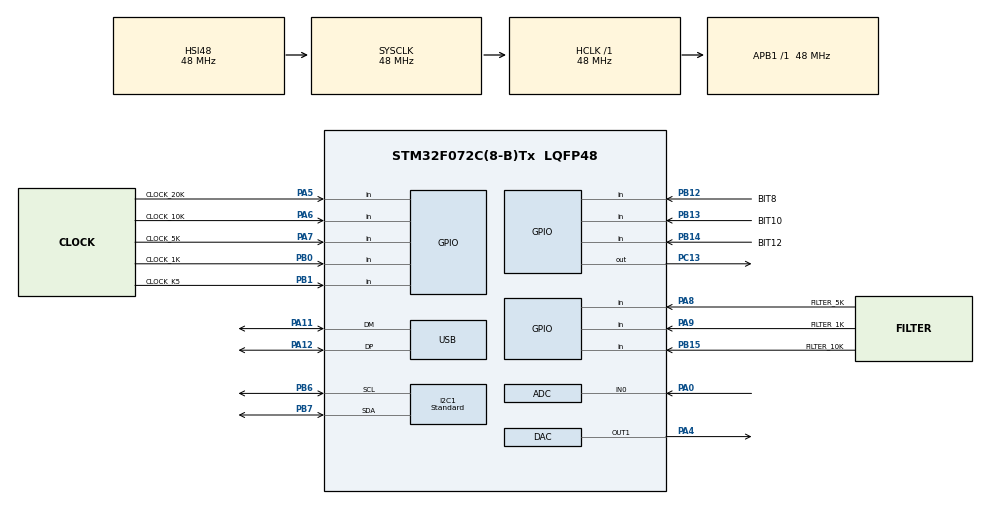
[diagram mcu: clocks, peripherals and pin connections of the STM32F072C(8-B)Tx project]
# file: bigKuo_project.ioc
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ADC.ClockPrescaler=ADC_CLOCK_ASYNC_DIV1
ADC.ContinuousConvMode=DISABLE
ADC.DMAContinuousRequests=ENABLE
ADC.DataAlign=ADC_DATAALIGN_RIGHT
ADC.DiscontinuousConvMode=DISABLE
ADC.EOCSelection=ADC_EOC_SINGLE_CONV
ADC.EnableAnalogWatchDog=false
ADC.ExternalTrigConv=ADC_EXTERNALTRIGCONV_T3_TRGO
ADC.ExternalTrigConvEdge=ADC_EXTERNALTRIGCONVEDGE_RISING
ADC.LowPowerAutoPowerOff=DISABLE
ADC.LowPowerAutoWait=DISABLE
ADC.Overrun=ADC_OVR_DATA_OVERWRITTEN
ADC.Resolution=ADC_RESOLUTION_12B
ADC.SamplingTime=ADC_SAMPLETIME_1CYCLE_5
ADC.ScanConvMode=ADC_SCAN_DIRECTION_FORWARD
DAC.DAC_Trigger=DAC_TRIGGER_T15_TRGO
Dma.ADC.0.Direction=DMA_PERIPH_TO_MEMORY
Dma.ADC.0.Instance=DMA1_Channel1
Dma.ADC.0.MemDataAlignment=DMA_MDATAALIGN_HALFWORD
Dma.ADC.0.MemInc=DMA_MINC_ENABLE
Dma.ADC.0.Mode=DMA_CIRCULAR
Dma.ADC.0.PeriphDataAlignment=DMA_PDATAALIGN_HALFWORD
Dma.ADC.0.PeriphInc=DMA_PINC_DISABLE
Dma.ADC.0.Priority=DMA_PRIORITY_LOW
Dma.DAC_CH1.1.Direction=DMA_MEMORY_TO_PERIPH
Dma.DAC_CH1.1.Instance=DMA1_Channel3
Dma.DAC_CH1.1.MemDataAlignment=DMA_MDATAALIGN_HALFWORD
Dma.DAC_CH1.1.MemInc=DMA_MINC_ENABLE
Dma.DAC_CH1.1.Mode=DMA_CIRCULAR
Dma.DAC_CH1.1.PeriphDataAlignment=DMA_PDATAALIGN_HALFWORD
Dma.DAC_CH1.1.PeriphInc=DMA_PINC_DISABLE
Dma.DAC_CH1.1.Priority=DMA_PRIORITY_LOW
Dma.Request0=ADC
Dma.Request1=DAC_CH1
I2C1.I2C_Speed_Mode=I2C_Standard
Mcu.Family=STM32F0
Mcu.Name=STM32F072C(8-B)Tx
Mcu.Package=LQFP48
NVIC.ADC1_COMP_IRQn=true\:0\:0\:true\:true\:true\:5
NVIC.DMA1_Channel1_IRQn=true\:0\:0\:true\:true\:true\:3
NVIC.DMA1_Channel2_3_IRQn=true\:0\:0\:true\:true\:true\:4
NVIC.I2C1_IRQn=true\:0\:0\:false\:true\:true\:1
NVIC.TIM2_IRQn=true\:0\:0\:false\:true\:true\:2
NVIC.TIM6_DAC_IRQn=true\:0\:0\:false\:true\:true\:6
NVIC.USB_IRQn=true\:0\:0\:false\:true\:true\:7
PA0.Mode=IN0
PA0.Signal=ADC_IN0
PA11.Mode=Device
PA11.Signal=USB_DM
PA12.Mode=Device
PA12.Signal=USB_DP
PA13.Mode=Serial_Wire
PA13.Signal=SYS_SWDIO
PA14.Mode=Serial_Wire
PA14.Signal=SYS_SWCLK
PA4.Signal=COMP_DAC1_group
PA5.GPIO_Label=CLOCK_20K
PA5.GPIO_PuPd=GPIO_PULLDOWN
PA5.Signal=GPIO_Input
PA6.GPIO_Label=CLOCK_10K
PA6.GPIO_PuPd=GPIO_PULLDOWN
PA6.Signal=GPIO_Input
PA7.GPIO_Label=CLOCK_5K
PA7.GPIO_PuPd=GPIO_PULLDOWN
PA7.Signal=GPIO_Input
PA8.GPIO_Label=FILTER_5K
PA8.GPIO_PuPd=GPIO_PULLDOWN
PA8.Signal=GPIO_Input
PA9.GPIO_Label=FILTER_1K
PA9.GPIO_PuPd=GPIO_PULLDOWN
PA9.Signal=GPIO_Input
PB0.GPIO_Label=CLOCK_1K
PB0.GPIO_PuPd=GPIO_PULLDOWN
PB0.Signal=GPIO_Input
PB1.GPIO_Label=CLOCK_K5
PB1.GPIO_PuPd=GPIO_PULLDOWN
PB1.Signal=GPIO_Input
PB12.GPIO_Label=BIT8
PB12.GPIO_PuPd=GPIO_PULLDOWN
PB12.Signal=GPIO_Input
PB13.GPIO_Label=BIT10
PB13.GPIO_PuPd=GPIO_PULLDOWN
PB13.Signal=GPIO_Input
PB14.GPIO_Label=BIT12
PB14.GPIO_PuPd=GPIO_PULLDOWN
PB14.Signal=GPIO_Input
PB15.GPIO_Label=FILTER_10K
PB15.GPIO_PuPd=GPIO_PULLDOWN
PB15.Signal=GPIO_Input
PB6.Mode=I2C
PB6.Signal=I2C1_SCL
PB7.Mode=I2C
PB7.Signal=I2C1_SDA
PC13.Signal=GPIO_Output
PF0-OSC_IN.Mode=HSE-External-Oscillator
PF0-OSC_IN.Signal=RCC_OSC_IN
PF1-OSC_OUT.Mode=HSE-External-Oscillator
PF1-OSC_OUT.Signal=RCC_OSC_OUT
ProjectManager.HeapSize=0x200
ProjectManager.StackSize=0x400
ProjectManager.TargetToolchain=MDK-ARM V5
RCC.AHBCLKDivider=RCC_SYSCLK_DIV1
RCC.AHBFreq_Value=48000000
RCC.APB1CLKDivider=RCC_HCLK_DIV1
RCC.APB1Freq_Value=48000000
RCC.APB1TimFreq_Value=48000000
RCC.HCLKFreq_Value=48000000
RCC.PLLSourceVirtual=RCC_PLLSOURCE_HSI
RCC.SYSCLKFreq_VALUE=48000000
RCC.SYSCLKSource=RCC_SYSCLKSOURCE_HSI48
SH.COMP_DAC1_group.0=DAC_OUT1,DAC_OUT1
TIM15.Period=2400
TIM15.Prescaler=0
TIM15.TIM_MasterOutputTrigger=TIM_TRGO_UPDATE
TIM17.Period=50-1
TIM17.Prescaler=48-1
TIM2.Period=500-1
TIM2.Prescaler=48000-1
TIM3.Period=2400
TIM3.Prescaler=0
TIM3.TIM_MasterOutputTrigger=TIM_TRGO_UPDATE
TIM3.TIM_MasterSlaveMode=TIM_MASTERSLAVEMODE_DISABLE
USB_DEVICE.CLASS_NAME_FS=CDC
USB_DEVICE.VirtualMode=Cdc
USB_DEVICE.VirtualModeFS=Cdc_FS
VP_TIM15_VS_ClockSourceINT.Mode=Internal
VP_TIM17_VS_ClockSourceINT.Mode=Enable_Timer
VP_TIM2_VS_ClockSourceINT.Mode=Internal
VP_TIM3_VS_ClockSourceINT.Mode=Internal
VP_USB_DEVICE_VS_USB_DEVICE_CDC_FS.Mode=CDC_FS
board=bigKuo_project

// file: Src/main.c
/**
  ******************************************************************************
  * File Name          : main.c
  * Description        : Main program body
  ******************************************************************************
  * This notice applies to any and all portions of this file
  * that are not between comment pairs USER CODE BEGIN and
  * USER CODE END. Other portions of this file, whether
  * inserted by the user or by software development tools
  * are owned by their respective copyright owners.
  *
  * Copyright (c) 2017 STMicroelectronics International N.V.
  * All rights reserved.
  *
  * Redistribution and use in source and binary forms, with or without
  * modification, are permitted, provided that the following conditions are met:
  *
  * 1. Redistribution of source code must retain the above copyright notice,
  *    this list of conditions and the following disclaimer.
  * 2. Redistributions in binary form must reproduce the above copyright notice,
  *    this list of conditions and the following disclaimer in the documentation
  *    and/or other materials provided with the distribution.
  * 3. Neither the name of STMicroelectronics nor the names of other
  *    contributors to this software may be used to endorse or promote products
  *    derived from this software without specific written permission.
  * 4. This software, including modifications and/or derivative works of this
  *    software, must execute solely and exclusively on microcontroller or
  *    microprocessor devices manufactured by or for STMicroelectronics.
  * 5. Redistribution and use of this software other than as permitted under
  *    this license is void and will automatically terminate your rights under
  *    this license.
  *
  * THIS SOFTWARE IS PROVIDED BY STMICROELECTRONICS AND CONTRIBUTORS "AS IS"
  * AND ANY EXPRESS, IMPLIED OR STATUTORY WARRANTIES, INCLUDING, BUT NOT
  * LIMITED TO, THE IMPLIED WARRANTIES OF MERCHANTABILITY, FITNESS FOR A
  * PARTICULAR PURPOSE AND NON-INFRINGEMENT OF THIRD PARTY INTELLECTUAL PROPERTY
  * RIGHTS ARE DISCLAIMED TO THE FULLEST EXTENT PERMITTED BY LAW. IN NO EVENT
  * SHALL STMICROELECTRONICS OR CONTRIBUTORS BE LIABLE FOR ANY DIRECT, INDIRECT,
  * INCIDENTAL, SPECIAL, EXEMPLARY, OR CONSEQUENTIAL DAMAGES (INCLUDING, BUT NOT
  * LIMITED TO, PROCUREMENT OF SUBSTITUTE GOODS OR SERVICES; LOSS OF USE, DATA,
  * OR PROFITS; OR BUSINESS INTERRUPTION) HOWEVER CAUSED AND ON ANY THEORY OF
  * LIABILITY, WHETHER IN CONTRACT, STRICT LIABILITY, OR TORT (INCLUDING
  * NEGLIGENCE OR OTHERWISE) ARISING IN ANY WAY OUT OF THE USE OF THIS SOFTWARE,
  * EVEN IF ADVISED OF THE POSSIBILITY OF SUCH DAMAGE.
  *
  ******************************************************************************
  */
#include "main.h"
#include "stm32f0xx_hal.h"
#include "adc.h"
#include "dac.h"
#include "dma.h"
#include "i2c.h"
#include "tim.h"
#include "usb_device.h"
#include "gpio.h"

/* USER CODE BEGIN Includes */
#include "usbd_cdc_if.h"
#include "hd44780.h"
#include "pcf8574.h"
#include "key.h"
#include "delay.h"
#include "myiic.h"
/* USER CODE END Includes */

/* USER CODE BEGIN PV */
/* Private variables ---------------------------------------------------------*/
char kMsg[200];
char tempMsg1[100];
char tempMsg2[100];
char tempMsgStandby1[50];
char tempMsgStandby2[50];
/* USER CODE END PV */

void SystemClock_Config(void);
static void MX_NVIC_Init(void);

/* USER CODE BEGIN PFP */
/* Private function prototypes -----------------------------------------------*/

uint16_t ADCReadings_Bitshift = 0; //ADC Readings
uint16_t ADCReadings_Filter = 0; //ADC Readings

uint8_t  Key_mode = 0;
uint8_t  ADCReadings_Filter_ShowBit[8] = {0};
uint16_t ADCReadings_tmp = 0;
uint8_t  LCD_Reflash_flag = 0;
LCD_PCF8574_HandleTypeDef lcd;

// define timer clock setting
#define CLOCK_FREQ          48000000                            // 48M
#define TIM_PRESCALER       48                                  // TIM_CLOCK = 48M/48 = 1M = 1000k
#define TIM_CLOCK           (CLOCK_FREQ/TIM_PRESCALER)          // 48M/48 = 1M = 1000k
#define TIM_20K_PERIOD      (TIM_CLOCK/20000)                   // 1000k/20k  = 50
#define TIM_10K_PERIOD      (TIM_CLOCK/10000)                   // 1000k/10k  = 100
#define TIM_5K_PERIOD       (TIM_CLOCK/5000)                    // 1000k/5k   = 200
#define TIM_1K_PERIOD       (TIM_CLOCK/1000)                    // 1000k/1k   = 1000
#define TIM_K5_PERIOD       (TIM_CLOCK/500)                     // 1000k/0.5k = 2000
uint32_t TIM_prescale_setting = TIM_20K_PERIOD;

#define FW_VERSION           "v1.0"
/* USER CODE END PFP */

/* USER CODE BEGIN 0 */

/* Variable containing ADC conversions results */
/* ADC parameters */
#define ADCCONVERTEDVALUES_BUFFER_SIZE ((uint32_t)  1)    /* Size of array containing ADC converted values */
__IO uint16_t aADCxConvertedValues[ADCCONVERTEDVALUES_BUFFER_SIZE];
__IO uint16_t uDAC_TEST[1] = {0};

/* USER CODE END 0 */

int main(void)
{

  /* MCU Configuration----------------------------------------------------------*/

  /* Reset of all peripherals, Initializes the Flash interface and the Systick. */
  HAL_Init();

  /* Configure the system clock */
  SystemClock_Config();

  /* USER CODE BEGIN SysInit */
  // TIM2  --> Callback
  // TIM3  --> ADC
  // TIM15 --> DAC

  /* USER CODE END SysInit */

  /* Initialize all configured peripherals */
  MX_GPIO_Init();
  MX_DMA_Init();
  MX_USB_DEVICE_Init();
  MX_ADC_Init();
  MX_DAC_Init();
  MX_I2C1_Init();
  MX_TIM2_Init();
  MX_TIM17_Init();
  MX_TIM15_Init();
  MX_TIM3_Init();

  /* Initialize interrupts */
  MX_NVIC_Init();

  /* USER CODE BEGIN 2 */
  lcd.pcf8574.PCF_I2C_ADDRESS = 7;
  lcd.pcf8574.PCF_I2C_TIMEOUT = 1000;
  lcd.pcf8574.i2c.Instance = I2C1;
  lcd.pcf8574.i2c.Init.Timing = 0x0000020B;
  lcd.NUMBER_OF_LINES = NUMBER_OF_LINES_2;
  lcd.type = TYPE0;
  if (LCD_Init(&lcd) != LCD_OK)
  {
    // error occured
    while (1);
  }
  // while (PCF8574_Init()) //�?测�?�到 PCF8574
  // {
  //   HAL_GPIO_TogglePin(GPIOC, GPIO_PIN_13);
  //   HAL_Delay(200);
  // }

  // default msg for LCD
//  sprintf(tempMsgStandby1, "ADC/DAC");
  sprintf(tempMsgStandby2, "Teach Module");

  // Start ADC DMA
  if (HAL_ADC_Start_DMA(&hadc, (uint32_t *)aADCxConvertedValues, ADCCONVERTEDVALUES_BUFFER_SIZE) != HAL_OK)
  {
    /* Start Error */
    Error_Handler();
  }
  if (HAL_TIM_Base_Start(&htim3) != HAL_OK)
  {
    /* Counter Enable Error */
    Error_Handler();
  }

  // Start DAC DMA
  //if (HAL_DAC_Start_DMA(&hdac, DAC_CHANNEL_1, (uint32_t *)aADCxConvertedValues, ADCCONVERTEDVALUES_BUFFER_SIZE, DAC_ALIGN_12B_R) != HAL_OK)
  if (HAL_DAC_Start_DMA(&hdac, DAC_CHANNEL_1, (uint32_t *)uDAC_TEST, 1, DAC_ALIGN_12B_R) != HAL_OK)
  {
    /* Start DMA Error */
    Error_Handler();
  }

  if (HAL_TIM_Base_Start(&htim15) != HAL_OK)
  {
    /* Counter Enable Error */
    Error_Handler();
  }

  if (HAL_TIM_Base_Start_IT(&htim2) != HAL_OK)
  {
    /* Starting Error */
    Error_Handler();
  }

  uint16_t i = 0;
  /* USER CODE END 2 */

  /* Infinite loop */
  while (1)
  {

    /* USER CODE BEGIN 3 */

    // USB display msg
    sprintf(kMsg, "A:%d, %d, %d, %d M: %d %d %d %d\n", uDAC_TEST[0], aADCxConvertedValues[0], ADCReadings_Bitshift, ADCReadings_Filter,
            Key_mode, ADC_Setting.ADC_clock, ADC_Setting.ADC_bit, ADC_Setting.ADC_filter);
    if (hUsbDeviceFS.dev_state == USBD_STATE_CONFIGURED) {CDC_Transmit_FS((uint8_t *)kMsg, strlen(kMsg));}

    // prase adc value from bit by bit
    ADCReadings_tmp = ADCReadings_Filter;
    for (i = 0; i < 8 ; i++)
    {
      ADCReadings_Filter_ShowBit[i] = (uint8_t) (ADCReadings_tmp >> i) & 1 ;
    }

    // LCD display msg
		sprintf(tempMsgStandby1, "ADC/DAC %d %d %d", ADC_Setting.ADC_clock, ADC_Setting.ADC_bit, ADC_Setting.ADC_filter);

    sprintf(tempMsg1, "DAC: %d", uDAC_TEST[0]);
    sprintf(tempMsg2, "ADC: %d%d%d%d%d%d%d%d", ADCReadings_Filter_ShowBit[7], ADCReadings_Filter_ShowBit[6], ADCReadings_Filter_ShowBit[5],
            ADCReadings_Filter_ShowBit[4], ADCReadings_Filter_ShowBit[3], ADCReadings_Filter_ShowBit[2], ADCReadings_Filter_ShowBit[1],
            ADCReadings_Filter_ShowBit[0]);

    // HAL_GPIO_TogglePin(GPIOC, GPIO_PIN_13);
    HAL_Delay(500);

    // scan gpio and change adc timer clock / bit / filter setting
    Key_mode = KEY_Scan_Clock(&ADC_Setting, 1);
    KEY_Scan_Bit(&ADC_Setting, 1);
    KEY_Scan_Filter(&ADC_Setting, 1);

    // if change adc timer clock, stop and restart timer setting
    if (Key_mode == KEY_CLOCK_PRES)
    {

      if (HAL_TIM_Base_Stop(&htim3) != HAL_OK)
      {
        Error_Handler();
      }

      if (HAL_TIM_Base_DeInit(&htim3) != HAL_OK)
      {
        Error_Handler();
      }
      // check ADC sample clock
      switch (ADC_Setting.ADC_clock)
      {
      case (CLOCK_20K):
        TIM_prescale_setting = TIM_20K_PERIOD;
        break;
      case (CLOCK_10K):
        TIM_prescale_setting = TIM_10K_PERIOD;
        break;
      case (CLOCK_5K):
        TIM_prescale_setting = TIM_5K_PERIOD;
        break;
      case (CLOCK_1K):
        TIM_prescale_setting = TIM_1K_PERIOD;
        break;
      case (CLOCK_K5):
        TIM_prescale_setting = TIM_K5_PERIOD;
        break;
      default:
        break;
      }

      MX_TIM3_ReInit((uint16_t)TIM_PRESCALER , (uint32_t)TIM_prescale_setting);

      if (HAL_TIM_Base_Start(&htim3) != HAL_OK)
      {
        Error_Handler();
      }

    }

  } // while loop end

  /* USER CODE END 3 */

}

/** System Clock Configuration
*/
void SystemClock_Config(void)
{

  RCC_OscInitTypeDef RCC_OscInitStruct;
  RCC_ClkInitTypeDef RCC_ClkInitStruct;
  RCC_PeriphCLKInitTypeDef PeriphClkInit;

  /**Initializes the CPU, AHB and APB busses clocks
  */
  RCC_OscInitStruct.OscillatorType = RCC_OSCILLATORTYPE_HSI | RCC_OSCILLATORTYPE_HSI14
                                     | RCC_OSCILLATORTYPE_HSI48;
  RCC_OscInitStruct.HSIState = RCC_HSI_ON;
  RCC_OscInitStruct.HSI48State = RCC_HSI48_ON;
  RCC_OscInitStruct.HSI14State = RCC_HSI14_ON;
  RCC_OscInitStruct.HSICalibrationValue = 16;
  RCC_OscInitStruct.HSI14CalibrationValue = 16;
  RCC_OscInitStruct.PLL.PLLState = RCC_PLL_NONE;
  if (HAL_RCC_OscConfig(&RCC_OscInitStruct) != HAL_OK)
  {
    _Error_Handler(__FILE__, __LINE__);
  }

  /**Initializes the CPU, AHB and APB busses clocks
  */
  RCC_ClkInitStruct.ClockType = RCC_CLOCKTYPE_HCLK | RCC_CLOCKTYPE_SYSCLK
                                | RCC_CLOCKTYPE_PCLK1;
  RCC_ClkInitStruct.SYSCLKSource = RCC_SYSCLKSOURCE_HSI48;
  RCC_ClkInitStruct.AHBCLKDivider = RCC_SYSCLK_DIV1;
  RCC_ClkInitStruct.APB1CLKDivider = RCC_HCLK_DIV1;

  if (HAL_RCC_ClockConfig(&RCC_ClkInitStruct, FLASH_LATENCY_1) != HAL_OK)
  {
    _Error_Handler(__FILE__, __LINE__);
  }

  PeriphClkInit.PeriphClockSelection = RCC_PERIPHCLK_USB | RCC_PERIPHCLK_I2C1;
  PeriphClkInit.I2c1ClockSelection = RCC_I2C1CLKSOURCE_HSI;
  PeriphClkInit.UsbClockSelection = RCC_USBCLKSOURCE_HSI48;

  if (HAL_RCCEx_PeriphCLKConfig(&PeriphClkInit) != HAL_OK)
  {
    _Error_Handler(__FILE__, __LINE__);
  }

  /**Configure the Systick interrupt time
  */
  HAL_SYSTICK_Config(HAL_RCC_GetHCLKFreq() / 1000);

  /**Configure the Systick
  */
  HAL_SYSTICK_CLKSourceConfig(SYSTICK_CLKSOURCE_HCLK);

  /* SysTick_IRQn interrupt configuration */
  HAL_NVIC_SetPriority(SysTick_IRQn, 0, 0);
}

/** NVIC Configuration
*/
static void MX_NVIC_Init(void)
{
  /* I2C1_IRQn interrupt configuration */
  HAL_NVIC_SetPriority(I2C1_IRQn, 0, 0);
  HAL_NVIC_EnableIRQ(I2C1_IRQn);
  /* TIM2_IRQn interrupt configuration */
  HAL_NVIC_SetPriority(TIM2_IRQn, 0, 0);
  HAL_NVIC_EnableIRQ(TIM2_IRQn);
  /* DMA1_Channel1_IRQn interrupt configuration */
  HAL_NVIC_SetPriority(DMA1_Channel1_IRQn, 0, 0);
  HAL_NVIC_EnableIRQ(DMA1_Channel1_IRQn);
  /* DMA1_Channel2_3_IRQn interrupt configuration */
  HAL_NVIC_SetPriority(DMA1_Channel2_3_IRQn, 0, 0);
  HAL_NVIC_EnableIRQ(DMA1_Channel2_3_IRQn);
  /* ADC1_COMP_IRQn interrupt configuration */
  HAL_NVIC_SetPriority(ADC1_COMP_IRQn, 0, 0);
  HAL_NVIC_EnableIRQ(ADC1_COMP_IRQn);
  /* TIM6_DAC_IRQn interrupt configuration */
  HAL_NVIC_SetPriority(TIM6_DAC_IRQn, 0, 0);
  HAL_NVIC_EnableIRQ(TIM6_DAC_IRQn);
  /* USB_IRQn interrupt configuration */
  HAL_NVIC_SetPriority(USB_IRQn, 0, 0);
  HAL_NVIC_EnableIRQ(USB_IRQn);
}

/* USER CODE BEGIN 4 */
void HAL_ADC_ConvCpltCallback(ADC_HandleTypeDef * AdcHandle)
{
  // If enable DMA, just leave this commented.
  /* Get the converted value of regular channel */
  //uhADCxConvertedValue = HAL_ADC_GetValue(AdcHandle);

  ADCReadings_Bitshift = ADC_Bitshift(&ADC_Setting, (uint16_t)aADCxConvertedValues[0]);
  ADCReadings_Filter   = ADC_Filter_Output(&ADC_Setting , ADCReadings_Bitshift);
  uDAC_TEST[0] = DAC_Bitshift(&ADC_Setting, ADCReadings_Filter);
}

void HAL_TIM_PeriodElapsedCallback(TIM_HandleTypeDef *htim)
{
  HAL_GPIO_TogglePin(GPIOC, GPIO_PIN_13);

  // only show LCD msg on clock = 20k and filter is none.
  if (ADC_Setting.ADC_clock == CLOCK_20K && ADC_Setting.ADC_filter == FILTER_None)
  {
    LCD_ClearDisplay(&lcd);
    LCD_SetLocation(&lcd, 0, 0);
    LCD_WriteString(&lcd, tempMsg1);
    LCD_SetLocation(&lcd, 0, 1);
    LCD_WriteString(&lcd, tempMsg2);
    LCD_Reflash_flag = 0;
  }
  else
  {
    //show at first time and refresh after counting 10 tims.
    if (LCD_Reflash_flag >= 10 || LCD_Reflash_flag == 0)
    {
      LCD_ClearDisplay(&lcd);
      LCD_SetLocation(&lcd, 0, 0);
      LCD_WriteString(&lcd, tempMsgStandby1);
      LCD_SetLocation(&lcd, 0, 1);
      LCD_WriteString(&lcd, tempMsgStandby2);
      LCD_Reflash_flag = 0;
    }
    LCD_Reflash_flag ++;
  }

}

/* USER CODE END 4 */

void _Error_Handler(char * file, int line)
{
  while (1)
  {
  }
}

/************************ (C) COPYRIGHT STMicroelectronics *****END OF FILE****/
